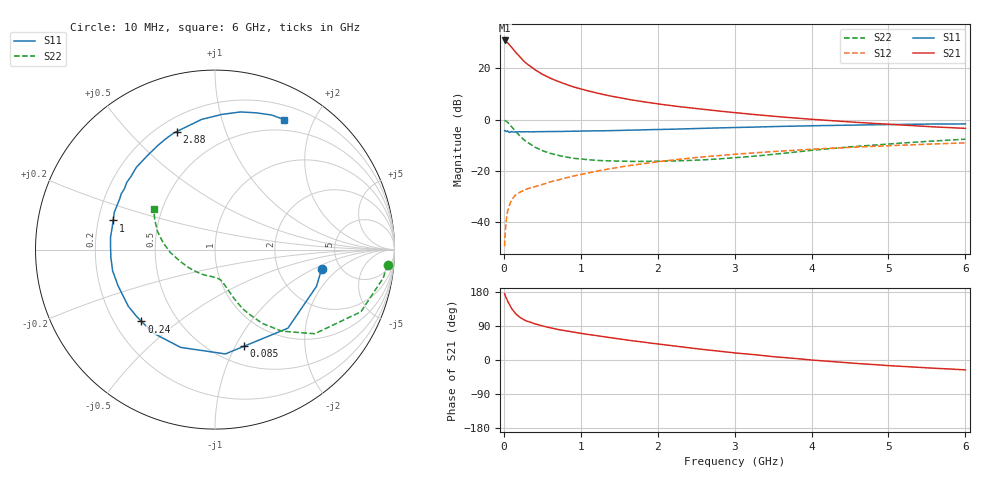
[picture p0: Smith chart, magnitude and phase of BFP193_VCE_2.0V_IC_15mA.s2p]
! Infineon Technologies  Discrete & RF Semiconductors
! BFP193
! VCE = 2.0 V,  IC =  15 mA
! Common Emitter S-Parameters:  Jan 2016
# GHz  S  MA  R  50
!  f  S11  S21  S12  S22
! GHz  MAG  ANG  MAG  ANG  MAG  ANG  MAG  ANG
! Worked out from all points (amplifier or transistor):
!   210 points, 10 MHz to 6 GHz, reference 50 ohm
!   highest |S21| = 31.0 dB at 10 MHz (marker M1)
!   |S21| within 3 dB of that: start of sweep to 110.3 MHz
!   unconditionally stable (mu >= 1): 838 MHz to 3.8 GHz
!   at 185 MHz: K = 0.42, MSG = 27.1 dB, |S12| = -28.9 dB
!   at 1.52 GHz: K = 1.09, MAG = 11.7 dB, |S12| = -18.6 dB
!   at 6 GHz: K = 0.92, MSG = 2.8 dB, |S12| = -9.2 dB
!   S11 on the Smith chart (normalised r, x): 10 MHz: 3.59, -1.23; 85 MHz: 0.69, -1.09; 240 MHz: 0.31, -0.37; 1 GHz: 0.26, +0.13; 2.88 GHz: 0.27, +0.69; 6 GHz: 0.36, +1.60
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0.01  0.6036 -10.4  35.39 175.1  0.0033 87.8  0.9649 -5.0
0.02  0.6014 -19.9  34.43 168.8  0.0069 85.6  0.9503 -9.6
0.05  0.5973 -47.1  31.98 154.4  0.0163 71.1  0.8837 -23.1
0.085  0.5622 -73.2  27.62 142.1  0.0234 59.8  0.7666 -34.3
0.1  0.5842 -84.3  26.23 135.7  0.0266 56.8  0.7273 -40.1
0.15  0.5775 -109.4  21 122.4  0.0329 51.2  0.5887 -50.6
0.2  0.5777 -126.0  17.29 113.8  0.037 47.5  0.4889 -57.3
0.24  0.5731 -135.7  14.95 108.7  0.0396 46.3  0.4282 -60.7
0.3  0.5769 -146.8  12.33 102.5  0.0436 46.1  0.3626 -65.0
0.4  0.5767 -159.7  9.544 95.5  0.0482 46.7  0.289 -68.9
0.5  0.5825 -168.3  7.698 89.9  0.0532 48.6  0.2457 -71.4
0.6  0.5818 -175.6  6.491 85.0  0.0598 50.1  0.2182 -73.4
0.7  0.5824 178.1  5.607 80.7  0.0649 51.4  0.199 -75.3
1  0.5899 164.0  3.96 70.3  0.0838 53.1  0.1681 -80.8
1.02  0.5913 163.2  3.891 69.7  0.0851 53.2  0.1671 -81.2
1.4  0.6079 149.2  2.855 58.5  0.1096 52.9  0.1548 -90.5
2.02  0.6376 130.2  2.007 41.8  0.15 48.6  0.1522 -109.8
2.88  0.6913 108.0  1.422 21.5  0.2018 40.0  0.1726 -141.8
3.1  0.7012 103.6  1.318 17.0  0.214 37.6  0.1829 -149.7
4.1  0.7585 85.5  0.986 -1.5  0.2665 26.9  0.2569 -178.8
5.1  0.7991 71.9  0.791 -15.9  0.311 16.1  0.3405 161.1
6  0.8202 62.0  0.671 -26.1  0.3487 6.4  0.4113 146.3
